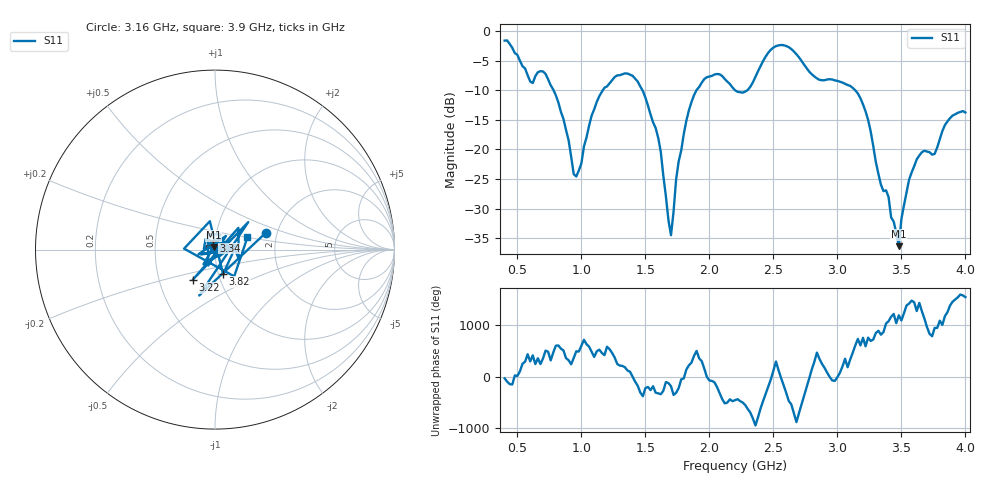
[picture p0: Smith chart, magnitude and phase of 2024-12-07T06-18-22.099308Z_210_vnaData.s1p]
!Created with skrf (http://scikit-rf.org).
# Hz S RI R 50.0
!freq ReS11 ImS11
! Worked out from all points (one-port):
!   181 points, 400 MHz to 4 GHz, reference 50 ohm
!   lowest |S11| = -36.3 dB at 3.48 GHz (marker M1), VSWR 1.03, Z = 49.3 + j1.35 ohm
!   |S11| at or under -10 dB: 782.3 MHz to 1.168 GHz (385.4 MHz wide, 39.5 % of centre); 1.477 GHz to 1.899 GHz (422 MHz wide, 25 % of centre); 3.139 GHz to end of sweep (the widest 3 of 4)
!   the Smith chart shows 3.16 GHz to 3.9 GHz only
!   S11 on the Smith chart (normalised r, x): 3.16 GHz: 1.74, +0.35; 3.22 GHz: 0.74, -0.26; 3.34 GHz: 0.98, +0.10; 3.82 GHz: 1.05, -0.29; 3.9 GHz: 1.42, +0.20
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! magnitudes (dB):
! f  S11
! 400 MHz  -1.6
! 600 MHz  -8.5
! 720 MHz  -7.2
! 860 MHz  -14.9
! 960 MHz  -24.6
! 1.12 GHz  -12.0
! 1.3 GHz  -7.5
! 1.44 GHz  -8.5
! 1.58 GHz  -16.4
! 1.7 GHz  -34.5
! 1.76 GHz  -22.0
! 1.84 GHz  -13.4
! 1.96 GHz  -8.1
! 2.2 GHz  -10.0
! 2.3 GHz  -10.0
! 2.5 GHz  -2.8
! 2.66 GHz  -3.5
! 2.84 GHz  -8.0
! 3.1 GHz  -9.3
! 3.16 GHz  -10.6
! 3.22 GHz  -13.6
! 3.34 GHz  -25.9
! 3.4 GHz  -28.1
! 3.48 GHz  -36.3
! 3.56 GHz  -25.1
! 3.82 GHz  -16.9
! 3.9 GHz  -14.3
! 4 GHz  -13.8
